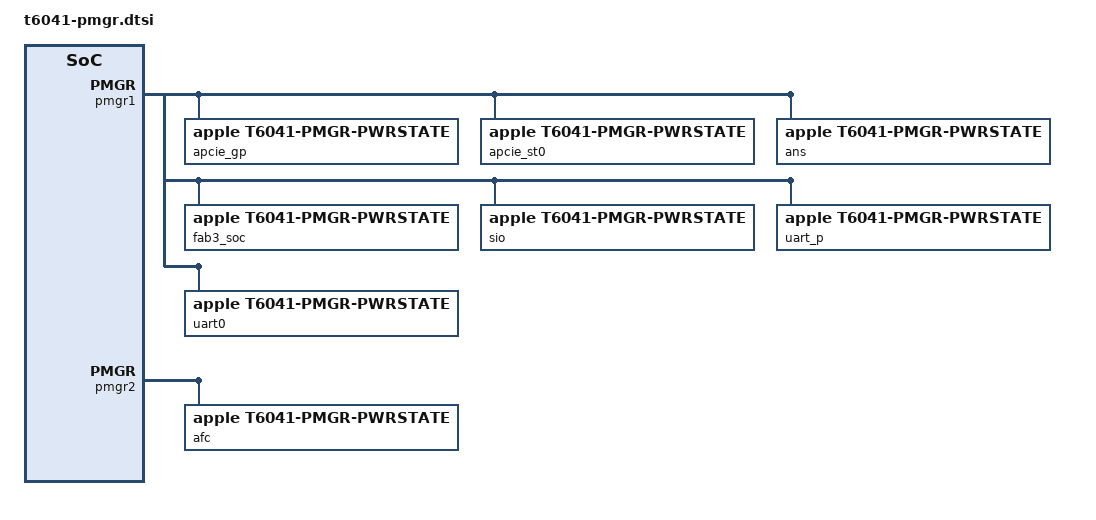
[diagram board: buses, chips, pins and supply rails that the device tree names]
// SPDX-License-Identifier: GPL-2.0+ OR MIT
/*
 * Minimal PMGR power-state chain for the T6041 UART (ps_uart0 and its
 * ancestors), extracted from the full ADT-generated pmgr by following
 * power-domains links. Enough to power the s5l UART for earlycon.
 *
 * Copyright The Asahi Linux Contributors
 */

&pmgr1 {
	/* NVMe / ANS storage path (added for the apple-nvme bring-up). */
	ps_apcie_gp: power-controller@100 {
		compatible = "apple,t6041-pmgr-pwrstate", "apple,t8103-pmgr-pwrstate";
		reg = <0x100 4>;
		#power-domain-cells = <0>;
		#reset-cells = <0>;
		label = "apcie_gp";
	};
	ps_apcie_st0: power-controller@108 {
		compatible = "apple,t6041-pmgr-pwrstate", "apple,t8103-pmgr-pwrstate";
		reg = <0x108 4>;
		#power-domain-cells = <0>;
		#reset-cells = <0>;
		label = "apcie_st0";
		power-domains = <&ps_apcie_gp>;
	};
	ps_ans: power-controller@370 {
		compatible = "apple,t6041-pmgr-pwrstate", "apple,t8103-pmgr-pwrstate";
		reg = <0x370 4>;
		#power-domain-cells = <0>;
		#reset-cells = <0>;
		label = "ans";
		power-domains = <&ps_fab3_soc>;
	};
	ps_fab3_soc: power-controller@118 {
		compatible = "apple,t6041-pmgr-pwrstate", "apple,t8103-pmgr-pwrstate";
		reg = <0x118 4>;
		#power-domain-cells = <0>;
		#reset-cells = <0>;
		label = "fab3_soc";
		apple,always-on;
		power-domains = <&ps_afc>;
	};
	ps_sio: power-controller@120 {
		compatible = "apple,t6041-pmgr-pwrstate", "apple,t8103-pmgr-pwrstate";
		reg = <0x120 4>;
		#power-domain-cells = <0>;
		#reset-cells = <0>;
		label = "sio";
		apple,always-on;
		power-domains = <&ps_fab3_soc>;
	};
	ps_uart_p: power-controller@1a0 {
		compatible = "apple,t6041-pmgr-pwrstate", "apple,t8103-pmgr-pwrstate";
		reg = <0x1a0 4>;
		#power-domain-cells = <0>;
		#reset-cells = <0>;
		label = "uart_p";
		power-domains = <&ps_sio>;
	};
	ps_uart0: power-controller@1f8 {
		compatible = "apple,t6041-pmgr-pwrstate", "apple,t8103-pmgr-pwrstate";
		reg = <0x1f8 4>;
		#power-domain-cells = <0>;
		#reset-cells = <0>;
		label = "uart0";
		power-domains = <&ps_uart_p>;
	};
};

&pmgr2 {
	ps_afc: power-controller@178 {
		compatible = "apple,t6041-pmgr-pwrstate", "apple,t8103-pmgr-pwrstate";
		reg = <0x178 4>;
		#power-domain-cells = <0>;
		#reset-cells = <0>;
		label = "afc";
		apple,always-on;
	};
};

